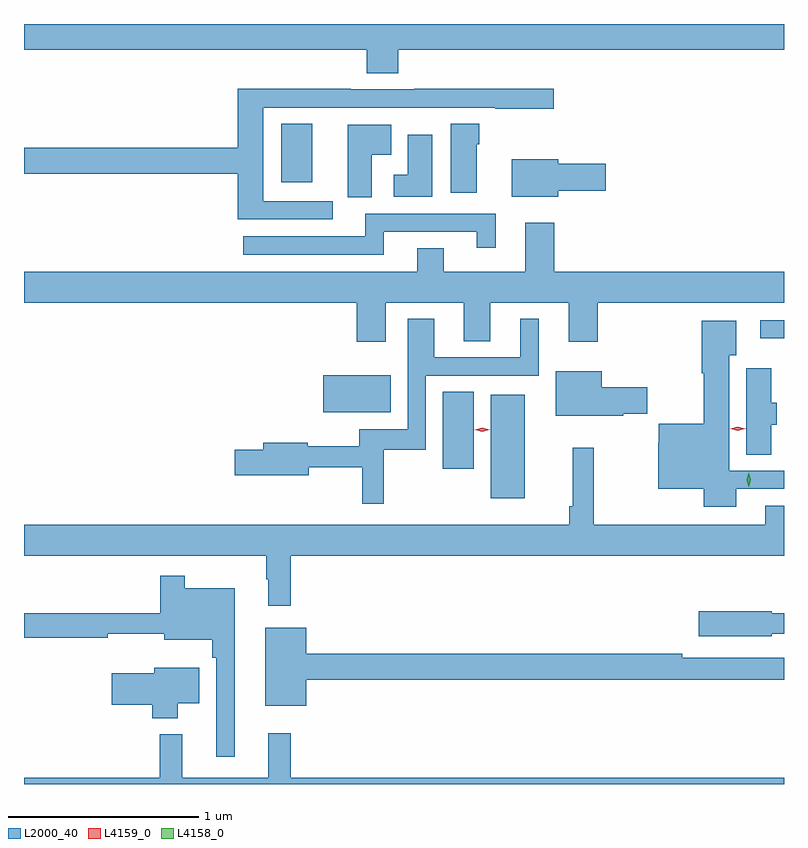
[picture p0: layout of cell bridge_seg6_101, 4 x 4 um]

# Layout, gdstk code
import gdstk
lib = gdstk.Library(unit=1e-6, precision=1e-09)
def R(c, l, rs):  # rectangles x0, y0, x1, y1
    for r in rs: c.add(gdstk.rectangle(r[:2], r[2:], *l))
def P(c, l, *ps):  # polygons
    for p in ps: c.add(gdstk.Polygon(p, *l))
L2000_40 = (2000, 40)
L4158_0 = (4158, 0)
L4159_0 = (4159, 0)

bridge_seg6_101 = lib.new_cell('bridge_seg6_101')
R(bridge_seg6_101, L2000_40, [(388.904,943.643,389.083,944.188), (388.652,943.797,388.816,944.204), (388.022,944.096,388.378,944.29), (390.324,944.484,390.448,944.58), (387.803,945.306,387.964,945.614)])
P(bridge_seg6_101, L2000_40, [(388.418,946.004),(390.448,946.004),(390.448,946.139),(386.448,946.139),(386.448,946.004),(388.253,946.004),(388.253,945.88),(388.418,945.88)],
  [(388.072,945.207),(387.706,945.207),(387.706,945.699),(388.927,945.699),(388.927,945.694),(389.236,945.694),(389.236,945.797),(388.501,945.797),(388.501,945.795),(388.169,945.795),(388.169,945.797),(387.572,945.797),(387.572,945.488),(386.448,945.488),(386.448,945.352),(387.572,945.352),(387.572,945.111),(388.072,945.111)],
  [(388.831,945.506),(388.844,945.506),(388.844,945.614),(388.694,945.614),(388.694,945.252),(388.831,945.252)],
  [(388.279,945.452),(388.381,945.452),(388.381,945.61),(388.151,945.61),(388.151,945.227),(388.279,945.227)],
  [(388.597,945.556),(388.469,945.556),(388.469,945.346),(388.395,945.346),(388.395,945.23),(388.597,945.23)],
  [(389.26,945.262),(389.509,945.262),(389.509,945.404),(389.26,945.404),(389.26,945.427),(389.015,945.427),(389.015,945.23),(389.26,945.23)],
  [(388.342,945.045),(388.832,945.045),(388.832,944.961),(388.93,944.961),(388.93,945.141),(388.244,945.141),(388.244,945.021),(387.603,945.021),(387.603,944.925),(388.342,944.925)],
  [(388.351,944.672),(388.763,944.672),(388.763,944.47),(388.903,944.47),(388.903,944.672),(389.315,944.672),(389.315,944.466),(389.468,944.466),(389.468,944.672),(390.448,944.672),(390.448,944.836),(389.24,944.836),(389.24,945.094),(389.087,945.094),(389.087,944.836),(388.657,944.836),(388.657,944.96),(388.517,944.96),(388.517,944.836),(386.448,944.836),(386.448,944.672),(388.199,944.672),(388.199,944.466),(388.351,944.466)],
  [(388.342,943.899),(388.563,943.899),(388.563,944.289),(389.158,944.289),(389.158,944.587),(389.06,944.587),(389.06,944.385),(388.606,944.385),(388.606,944.587),(388.467,944.587),(388.467,944.007),(388.213,944.007),(388.213,943.916),(387.942,943.916),(387.942,943.934),(387.707,943.934),(387.707,943.898),(387.558,943.898),(387.558,943.763),(387.946,943.763),(387.946,943.806),(388.228,943.806),(388.228,943.614),(388.342,943.614)],
  [(390.196,943.692),(390.448,943.692),(390.448,943.788),(390.16,943.788),(390.16,944.396),(390.196,944.396),(390.196,944.578),(390.014,944.578),(390.014,944.3),(390.026,944.3),(390.026,944.035),(389.79,944.035),(389.79,943.934),(389.786,943.934),(389.786,943.694),(390.026,943.694),(390.026,943.598),(390.196,943.598)],
  [(390.382,944.031),(390.409,944.031),(390.409,944.145),(390.382,944.145),(390.382,944.326),(390.248,944.326),(390.248,943.873),(390.382,943.873)],
  [(389.601,944.089),(389.729,944.089),(389.729,944.226),(389.488,944.226),(389.488,944.311),(389.246,944.311),(389.246,944.078),(389.601,944.078)],
  [(387.851,943.34),(390.448,943.34),(390.448,943.603),(390.35,943.603),(390.35,943.504),(389.446,943.504),(389.446,943.909),(389.335,943.909),(389.335,943.6),(389.317,943.6),(389.317,943.504),(386.448,943.504),(386.448,943.34),(387.723,943.34),(387.723,943.217),(387.734,943.217),(387.734,943.077),(387.851,943.077)],
  [(387.556,943.168),(387.295,943.168),(387.295,943.234),(387.166,943.234),(387.166,943.039),(386.448,943.039),(386.448,942.91),(386.889,942.91),(386.889,942.929),(387.185,942.929),(387.185,942.899),(387.439,942.899),(387.439,942.803),(387.459,942.803),(387.459,942.282),(387.556,942.282)],
  [(390.384,942.93),(390.448,942.93),(390.448,943.039),(390.384,943.039),(390.384,943.047),(390,943.047),(390,942.917),(390.384,942.917)],
  [(387.934,942.688),(390.448,942.688),(390.448,942.804),(389.912,942.804),(389.912,942.824),(387.934,942.824),(387.934,942.961),(387.719,942.961),(387.719,942.551),(387.934,942.551)],
  [(387.256,942.563),(387.37,942.563),(387.37,942.751),(387.134,942.751),(387.134,942.721),(386.91,942.721),(386.91,942.556),(387.122,942.556),(387.122,942.485),(387.256,942.485)],
  [(390.448,942.172),(387.851,942.172),(387.851,942.406),(387.734,942.406),(387.734,942.172),(387.281,942.172),(387.281,942.4),(387.163,942.4),(387.163,942.172),(386.448,942.172),(386.448,942.139),(390.448,942.139)])
P(bridge_seg6_101, L4158_0, [(390.262,943.704),(390.262,943.704),(390.253,943.74),(390.263,943.775),(390.263,943.776),(390.263,943.775),(390.273,943.74),(390.263,943.704)])
P(bridge_seg6_101, L4159_0, [(390.205,943.999),(390.165,944.008),(390.164,944.009),(390.165,944.009),(390.205,944.019),(390.245,944.01),(390.246,944.01),(390.245,944.01)],
  [(388.86,943.993),(388.821,944.003),(388.821,944.003),(388.821,944.003),(388.86,944.013),(388.899,944.003),(388.9,944.003),(388.899,944.003)])

lib.write_gds('bridge_seg6_101.gds')
